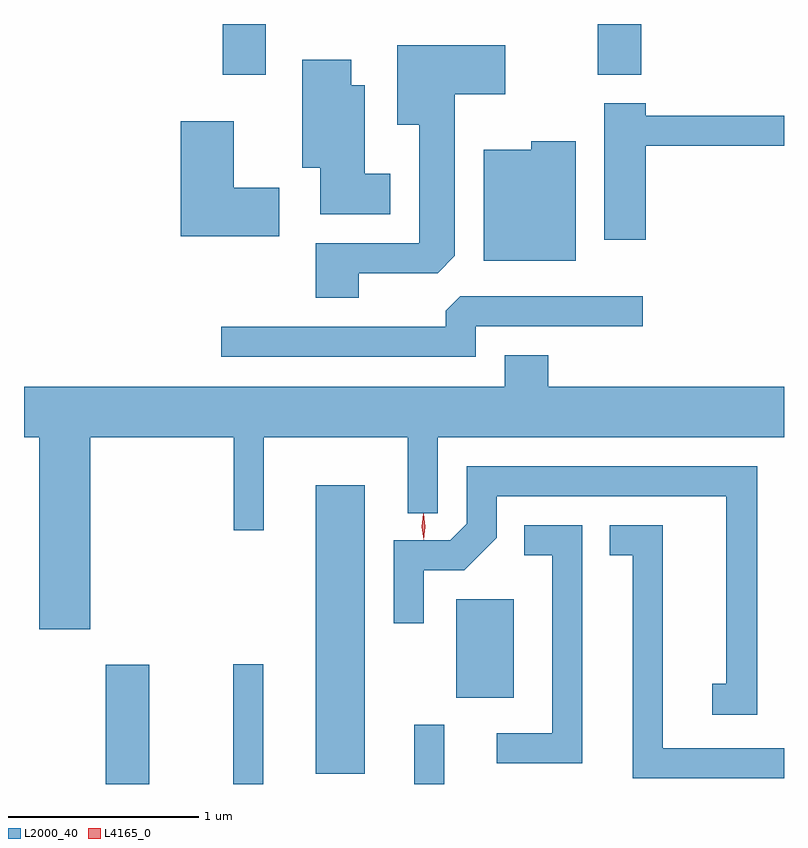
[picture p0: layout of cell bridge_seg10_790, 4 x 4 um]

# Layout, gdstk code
import gdstk
lib = gdstk.Library(unit=1e-6, precision=1e-09)
def R(c, l, rs):  # rectangles x0, y0, x1, y1
    for r in rs: c.add(gdstk.rectangle(r[:2], r[2:], *l))
def P(c, l, *ps):  # polygons
    for p in ps: c.add(gdstk.Polygon(p, *l))
L2000_40 = (2000, 40)
L4165_0 = (4165, 0)

bridge_seg10_790 = lib.new_cell('bridge_seg10_790')
R(bridge_seg10_790, L2000_40, [(356.211,2127.632,356.439,2128.259), (356.881,2127.632,357.039,2128.263), (357.836,2127.632,357.994,2127.943), (357.316,2127.686,357.574,2129.204), (358.056,2128.086,358.359,2128.604), (356.826,2131.366,357.054,2131.632), (358.801,2131.366,359.029,2131.632)])
P(bridge_seg10_790, L2000_40, [(357.544,2130.321),(357.959,2130.321),(358.049,2130.412),(358.049,2131.261),(358.314,2131.261),(358.314,2131.519),(357.746,2131.519),(357.746,2131.101),(357.861,2131.101),(357.861,2130.479),(357.316,2130.479),(357.316,2130.191),(357.544,2130.191)],
  [(357.709,2130.844),(357.574,2130.844),(357.574,2131.309),(357.504,2131.309),(357.504,2131.444),(357.246,2131.444),(357.246,2130.876),(357.341,2130.876),(357.341,2130.631),(357.709,2130.631)],
  [(359.054,2130.991),(359.781,2130.991),(359.781,2131.149),(359.054,2131.149),(359.054,2131.214),(358.836,2131.214),(358.836,2130.496),(359.054,2130.496)],
  [(357.124,2130.769),(356.884,2130.769),(356.884,2131.119),(356.606,2131.119),(356.606,2130.516),(357.124,2130.516)],
  [(358.684,2131.014),(358.451,2131.014),(358.451,2130.969),(358.201,2130.969),(358.201,2130.386),(358.684,2130.386)],
  [(358.159,2130.041),(359.038,2130.041),(359.038,2130.199),(358.077,2130.199),(358.001,2130.124),(358.001,2130.039),(356.818,2130.039),(356.818,2129.881),(358.159,2129.881)],
  [(356.129,2129.456),(356.886,2129.456),(356.886,2128.968),(357.044,2128.968),(357.044,2129.456),(357.801,2129.456),(357.801,2129.058),(357.959,2129.058),(357.959,2129.456),(359.781,2129.456),(359.781,2129.724),(358.539,2129.724),(358.539,2129.889),(358.311,2129.889),(358.311,2129.724),(355.781,2129.724),(355.781,2129.456),(355.861,2129.456),(355.861,2128.446),(356.129,2128.446)],
  [(359.639,2129.304),(358.111,2129.304),(358.111,2129.002),(358.024,2128.914),(357.726,2128.914),(357.726,2128.478),(357.884,2128.478),(357.884,2128.756),(358.097,2128.756),(358.269,2128.929),(358.269,2129.146),(359.476,2129.146),(359.476,2128.159),(359.403,2128.159),(359.403,2127.996),(359.639,2127.996)],
  [(358.719,2128.994),(358.413,2128.994),(358.413,2128.836),(358.561,2128.836),(358.561,2127.899),(358.268,2127.899),(358.268,2127.741),(358.719,2127.741)],
  [(359.781,2127.819),(359.144,2127.819),(359.144,2128.994),(358.863,2128.994),(358.863,2128.836),(358.986,2128.836),(358.986,2127.661),(359.781,2127.661)])
P(bridge_seg10_790, L4165_0, [(357.884,2128.917),(357.874,2128.986),(357.882,2129.055),(357.883,2129.056),(357.884,2129.055),(357.894,2128.986),(357.885,2128.917),(357.885,2128.917)],
  [(357.885,2128.919),(357.884,2128.92),(357.874,2128.986),(357.882,2129.052),(357.883,2129.052),(357.884,2129.052),(357.894,2128.986),(357.885,2128.92)])

lib.write_gds('bridge_seg10_790.gds')
